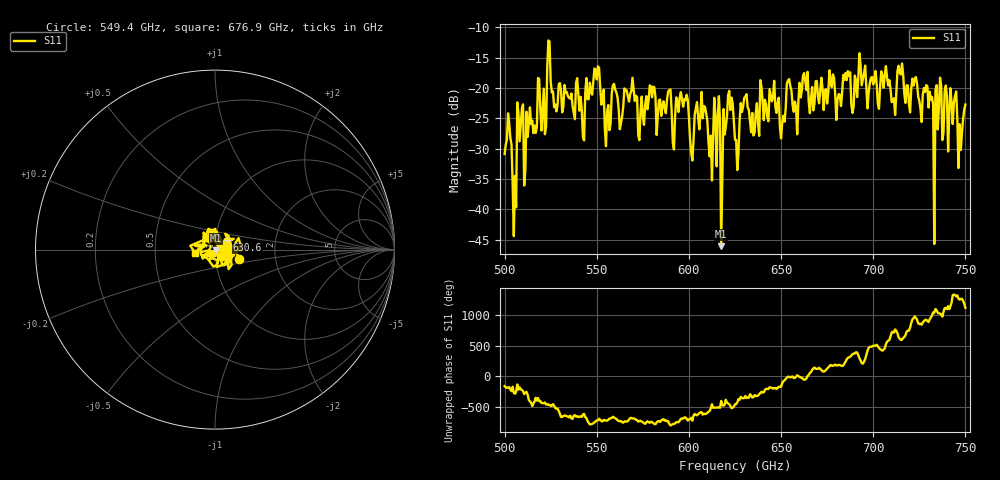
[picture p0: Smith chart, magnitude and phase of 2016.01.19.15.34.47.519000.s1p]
!Created with skrf (http://scikit-rf.org).
# GHz S RI R 50.0
!freq ReS11 ImS11
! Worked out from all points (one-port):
!   401 points, 500 GHz to 750 GHz, reference 50 ohm
!   lowest |S11| = -46.1 dB at 617.5 GHz (marker M1), VSWR 1.01, Z = 50.4 - j0.335 ohm
!   |S11| at or under -10 dB: start of sweep to end of sweep
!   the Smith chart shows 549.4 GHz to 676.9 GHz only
!   S11 on the Smith chart (normalised r, x): 549.4 GHz: 1.29, -0.14; 630.6 GHz: 1.14, +0.12; 676.9 GHz: 0.80, -0.03
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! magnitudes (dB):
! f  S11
! 500 GHz  -30.9
! 502.5 GHz  -25.8
! 505 GHz  -44.4
! 508.1 GHz  -28.8
! 511.9 GHz  -23.9
! 521.2 GHz  -20.1
! 524.4 GHz  -12.4
! 531.2 GHz  -24.0
! 541.9 GHz  -23.7
! 549.4 GHz  -17.0
! 555.6 GHz  -23.9
! 559.4 GHz  -19.3
! 562.5 GHz  -26.8
! 593.8 GHz  -22.2
! 617.5 GHz  -46.1
! 622.5 GHz  -23.6
! 625 GHz  -28.5
! 630.6 GHz  -21.4
! 656.2 GHz  -22.8
! 676.9 GHz  -18.9
! 687.5 GHz  -17.4
! 718.8 GHz  -19.6
! 728.1 GHz  -20.7
! 734.4 GHz  -19.6
! 735 GHz  -26.8
! 743.8 GHz  -22.4
! 746.9 GHz  -26.0
! 750 GHz  -22.7
